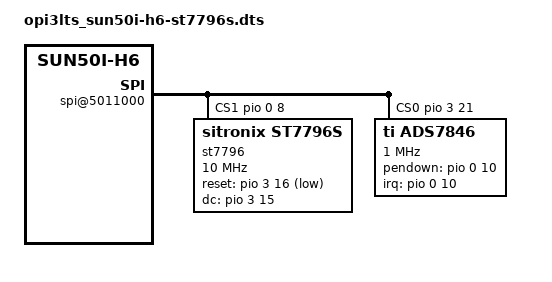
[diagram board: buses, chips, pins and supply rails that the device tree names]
/*
MOSI		PH5
MISO		PH6
CLK			PH4
TFT_CS		PL8
DC			PD15
RST			PD16
TOUCH_CS	PD21
TOUCH_IRQ	PL10
*/

/dts-v1/;
/plugin/;

/ {
    compatible = "allwinner,sun50i-h6";

    fragment@0 {
		target-path = "/soc/spi@5011000"; /* If not work, try: target = <&spi1>; */
		__overlay__ {
			num-cs = <2>;
			/* PD21 - Touch CS;  PL8 - TFT_CS */
			cs-gpios = <&pio 3 21 0>, <&pio 0 8 0>;
			status = "okay";
			#address-cells = <1>;
			#size-cells = <0>;

			st7796: st7796s@0{
				compatible = "sitronix,st7796s";
				reg = <1>;
				spi-max-frequency = <10000000>; /* 10Mhz */
				rotation = <180>;
				fps = <30>;
				buswidth = <16>;
				reset-gpios = <&pio 3 16 1>; /* PD16 */
				dc-gpios = <&pio 3 15 0>; /* PD15 */
				debug = <0>;
			};

			ads7846: ads7846@0 {
                compatible = "ti,ads7846";
                reg = <0>;
                status = "okay";
                spi-max-frequency = <1000000>; /* 1.6Mhz */
                interrupts = <0 10 2>; /* PL10 */
                interrupt-parent = <&pio>;
                pendown-gpio = <&pio 0 10 0>; /* PL10 */
                ti,x-min = /bits/ 16 <0>;
                ti,y-min = /bits/ 16 <0>;
                ti,x-max = /bits/ 16 <0x0FFF>;
                ti,y-max = /bits/ 16 <0x0FFF>;
                ti,pressure-min = /bits/ 16 <0>;
                ti,pressure-max = /bits/ 16 <0xFFFF>;
                ti,x-plate-ohms = /bits/ 16 <400>;
            };
        };
	};
};
